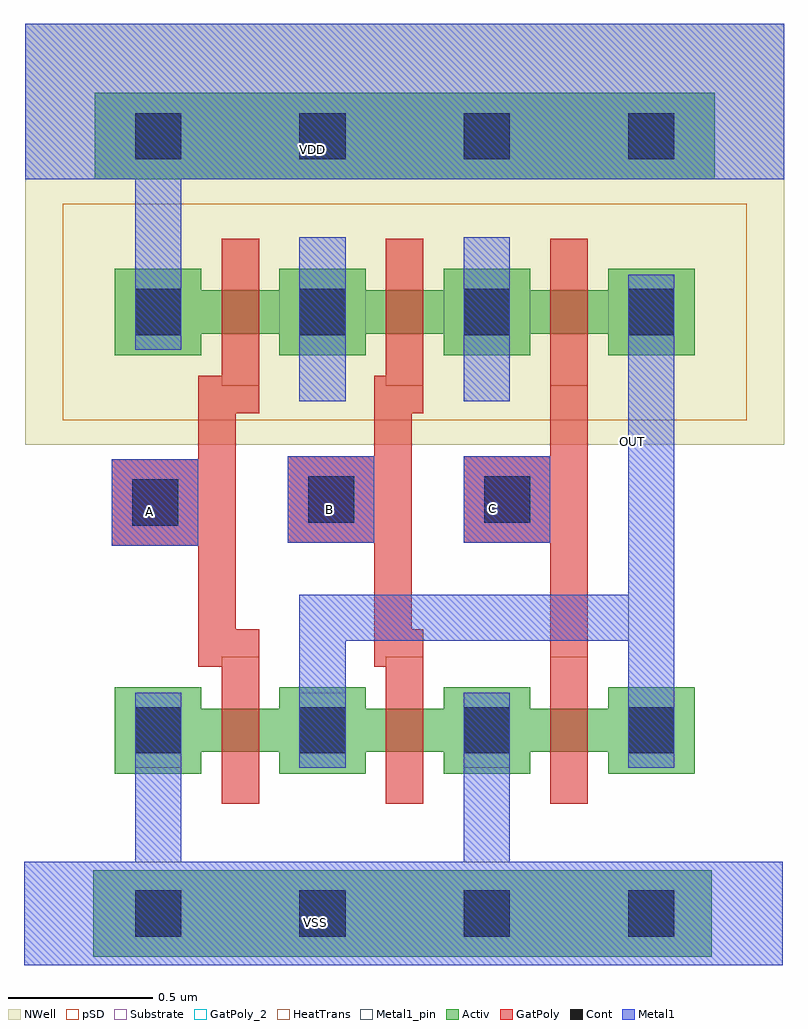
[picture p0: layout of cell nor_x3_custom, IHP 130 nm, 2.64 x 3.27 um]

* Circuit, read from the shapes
.subckt nor_x3_custom A B C OUT VDD VSS
XM1 OUT A VSS VSS sg13_lv_nmos w=0.15u l=0.13u
XM2 VSS B OUT VSS sg13_lv_nmos w=0.15u l=0.13u
XM3 OUT C VSS VSS sg13_lv_nmos w=0.15u l=0.13u
XM4 n1 A VDD VDD sg13_lv_pmos w=0.15u l=0.13u
XM5 n2 B n1 VDD sg13_lv_pmos w=0.15u l=0.13u
XM6 OUT C n2 VDD sg13_lv_pmos w=0.15u l=0.13u
.ends

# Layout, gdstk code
from math import pi, radians
import gdstk
lib = gdstk.Library(unit=1e-6, precision=5e-09)
def R(c, l, rs):  # rectangles x0, y0, x1, y1
    for r in rs: c.add(gdstk.rectangle(r[:2], r[2:], *l))
def A(c, l, x, y, w, h, nx, ny, dx, dy):  # array of equal rectangles
    R(c, l, [(x+i*dx, y+j*dy, x+i*dx+w, y+j*dy+h) for i in range(nx) for j in range(ny)])
Activ = (1, 0)
GatPoly = (5, 0)
GatPoly_2 = (5, 2)
Cont = (6, 0)
Metal1 = (8, 0)
Metal1_pin = (8, 2)
pSD = (14, 0)
NWell = (31, 0)
Substrate = (40, 0)
HeatTrans = (51, 0)

pmos = lib.new_cell('pmos')
R(pmos, Activ, [(0,0,0.3,0.3), (0.57,0,0.87,0.3), (0,0.075,0.87,0.225)])
R(pmos, GatPoly, [(0.37,-0.105,0.5,0.405), (0.37,-0.105,0.5,0.405)])
R(pmos, Cont, [(0.07,0.07,0.23,0.23), (0.64,0.07,0.8,0.23)])
R(pmos, Metal1, [(0.07,0.02,0.23,0.28), (0.07,0.02,0.23,0.28), (0.64,0.02,0.8,0.28), (0.64,0.02,0.8,0.28)])
R(pmos, pSD, [(-0.18,-0.225,1.05,0.525)])
R(pmos, NWell, [(-0.31,-0.31,1.18,0.61)])
R(pmos, Substrate, [(0.57,0,0.87,0.3)])
R(pmos, HeatTrans, [(0.37,-0.105,0.5,0.405)])
pmos.add(gdstk.Label('pmos', (0.435,0.15), layer=63, texttype=0))
pmos.add(gdstk.Label('pmos', (0.435,0.15), layer=51, texttype=0))

nmos = lib.new_cell('nmos')
R(nmos, Activ, [(0,0,0.3,0.3), (0.57,0,0.87,0.3), (0,0.075,0.87,0.225)])
R(nmos, GatPoly, [(0.37,-0.105,0.5,0.405)])
R(nmos, GatPoly_2, [(0.37,-0.105,0.5,0.405)])
R(nmos, Cont, [(0.07,0.07,0.23,0.23), (0.64,0.07,0.8,0.23)])
R(nmos, Metal1, [(0.07,0.02,0.23,0.28), (0.64,0.02,0.8,0.28)])
R(nmos, Metal1_pin, [(0.07,0.02,0.23,0.28), (0.64,0.02,0.8,0.28)])
R(nmos, HeatTrans, [(0.37,-0.105,0.5,0.405)])
nmos.add(gdstk.Label('nmos', (0.435,0.15), layer=63, texttype=0))
nmos.add(gdstk.Label('nmos', (0.435,0.15), layer=51, texttype=0))

nor_x3_custom = lib.new_cell('nor_x3_custom')
R(nor_x3_custom, Activ, [(1.225,0.545,3.37,0.845), (1.23,3.24,3.38,3.54)])
R(nor_x3_custom, GatPoly, [(2.81,1.075,2.94,3.035), (1.59,1.55,1.72,2.56), (1.59,1.55,1.8,1.68), (2.2,1.55,2.37,1.68), (2.2,1.55,2.33,2.56), (1.29,1.97,1.59,2.27), (1.9,1.98,2.2,2.28), (2.51,1.98,2.81,2.28), (1.59,2.43,1.8,2.56), (2.2,2.43,2.37,2.56)])
A(nor_x3_custom, Cont, 1.37, 0.615, 0.16, 0.16, 4, 2, 0.57, 2.695)
R(nor_x3_custom, Cont, [(1.36,2.04,1.52,2.2), (1.97,2.05,2.13,2.21), (2.58,2.05,2.74,2.21)])
R(nor_x3_custom, Metal1, [(0.985,0.515,3.615,0.875), (1.37,0.545,1.53,1.46), (2.51,0.545,2.67,1.46), (1.94,1.2,2.1,1.8), (3.08,1.2,3.24,2.91), (1.94,1.64,3.24,1.8), (1.29,1.97,1.59,2.27), (1.9,1.98,2.2,2.28), (2.51,1.98,2.81,2.28), (1.94,2.47,2.1,3.04), (2.51,2.47,2.67,3.04), (1.37,2.65,1.53,3.54), (0.99,3.24,3.62,3.78)])
R(nor_x3_custom, Metal1_pin, [(0.985,0.515,3.615,0.875), (3.08,1.22,3.24,2.91), (1.29,1.97,1.59,2.27), (1.9,1.98,2.2,2.28), (2.51,1.98,2.81,2.28), (0.99,3.24,3.62,3.78)])
R(nor_x3_custom, pSD, [(0.985,0.515,3.615,0.875)])
R(nor_x3_custom, NWell, [(0.99,3.24,3.62,3.78)])
nor_x3_custom.add(gdstk.Reference(pmos, (1.87,2.63)))
nor_x3_custom.add(gdstk.Reference(pmos, (2.44,2.63)))
nor_x3_custom.add(gdstk.Reference(nmos, (2.44,1.18)))
nor_x3_custom.add(gdstk.Reference(nmos, (2.74,1.48), rotation=pi))
nor_x3_custom.add(gdstk.Reference(pmos, (1.3,2.63)))
nor_x3_custom.add(gdstk.Reference(nmos, (1.3,1.18)))
nor_x3_custom.add(gdstk.Label('VSS', (1.995,0.665), layer=8, texttype=25))
nor_x3_custom.add(gdstk.Label('VDD', (1.985,3.345), layer=8, texttype=25))
nor_x3_custom.add(gdstk.Label('OUT', (3.095,2.33), layer=8, texttype=25))
nor_x3_custom.add(gdstk.Label('A', (1.42,2.09), layer=8, texttype=25))
nor_x3_custom.add(gdstk.Label('B', (2.045,2.095), layer=8, texttype=25))
nor_x3_custom.add(gdstk.Label('C', (2.61,2.1), layer=8, texttype=25))

lib.write_gds('nor_x3_custom.gds')
